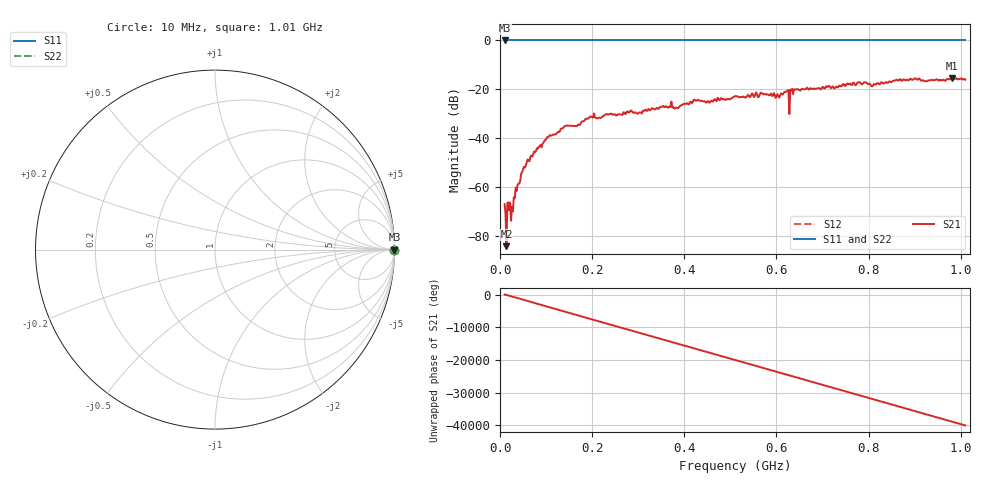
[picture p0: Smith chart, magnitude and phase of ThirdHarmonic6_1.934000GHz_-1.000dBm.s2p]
! 8/16/2025 11:18:31 PM
! C:\ANRITSUVNA\TEMP\TEMP.S2P
! CHANNEL.1
! TR.MEASUREMENT
! RAW.DATA
! RF.CORRECTION.OFF
! AVERAGING.OFF
! IF.BANDWIDTH: 5KHZ
! SWEEPTYPE:  FREQ.SWEEP(Linear)
! Reference Plane Port Info
! PORT:  PORT1  PORT2
! DISTANCE:  0  m  0  m
! TIME:  0  s  0  s
! PHASE.OFFSET:  0  deg.  0  deg.
! LOSS:  0  dB  0  dB
! REF.LOSS:  0  dB  0  dB
! REF.FREQ:  0  Hz  0  Hz
! Power Info
! POWER:  -20  dBm  -20  dBm
! EFF.POWER:  -20  dBm  -20  dBm
! SOURCE.ATTEN:  0  dB  0  dB
! TEST.ATTEN:  0  dB  0  dB
# GHZ S RI R 50.0
! FREQ.GHZ  S11RE  S11IM  S21RE  S21IM  S12RE  S12IM  S22RE  S22IM
!; PortSelection: Port_12
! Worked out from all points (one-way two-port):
!   501 points, 10 MHz to 1.01 GHz, reference 50 ohm
!   highest |S21| = -15.30 dB at 980 MHz (marker M1); lowest = -84.1 dB at 14 MHz (marker M2)
!   lowest |S11| = 0.0 dB at 10 MHz (marker M3)
!   |S11| at or under -10 dB: nowhere
!   |S22| runs from 0.0 to 0.0 dB; largest |S21 - S12| = 1.2
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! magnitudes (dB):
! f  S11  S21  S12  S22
! 10 MHz  0.0  -66.9  0.0  0.0
! 14 MHz  0.0  -84.1  0.0  0.0
! 28 MHz  0.0  -69.9  0.0  0.0
! 34 MHz  0.0  -60.2  0.0  0.0
! 56 MHz  0.0  -51.1  0.0  0.0
! 84 MHz  0.0  -43.7  0.0  0.0
! 106 MHz  0.0  -39.2  0.0  0.0
! 142 MHz  0.0  -34.9  0.0  0.0
! 178 MHz  0.0  -33.1  0.0  0.0
! 200 MHz  0.0  -31.4  0.0  0.0
! 344 MHz  0.0  -28.0  0.0  0.0
! 510 MHz  0.0  -22.7  0.0  0.0
! 570 MHz  0.0  -21.9  0.0  0.0
! 602 MHz  0.0  -21.9  0.0  0.0
! 622 MHz  0.0  -20.8  0.0  0.0
! 624 MHz  0.0  -20.5  0.0  0.0
! 632 MHz  0.0  -20.1  0.0  0.0
! 634 MHz  0.0  -19.8  0.0  0.0
! 678 MHz  0.0  -19.9  0.0  0.0
! 844 MHz  0.0  -16.8  0.0  0.0
! 980 MHz  0.0  -15.3  0.0  0.0
! 1.01 GHz  0.0  -16.1  0.0  0.0
